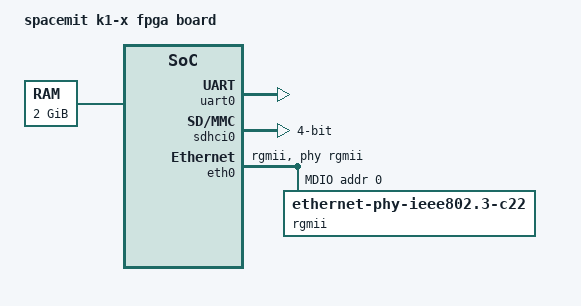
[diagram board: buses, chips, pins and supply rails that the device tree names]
// SPDX-License-Identifier: (GPL-2.0 OR MIT)
/* Copyright (c) 2023 Spacemit, Inc */

/dts-v1/;

#include "k1-x.dtsi"

/ {
	model = "spacemit k1-x fpga board";

	memory@0 {
		device_type = "memory";
		reg = <0x00000000 0x00000000 0x00000000 0x80000000>;
		u-boot,dm-spl;
	};

	chosen {
		bootargs = "earlycon=sbi console=ttyS0,115200 debug loglevel=8,initcall_debug=1 rdinit=/init.tmp";
		stdout-path = "serial0:115200n8";
		u-boot,dm-spl;
	};
};

&uart0 {
	status = "okay";
};

&sdhci0 {
	bus-width = <4>;
	broken-cd;
	cap-sd-highspeed;
	status = "okay";
};

/* eMMC */
&sdhci2 {
	bus-width = <8>;
	non-removable;
	cap-mmc-highspeed;
	status = "disabled";
};

&eth0 {
	status = "okay";

	phy-reset-pin = <40>;

	clk_tuning_enable;
	clk-tuning-by-reg;
	tx-phase = <0x1>;
	rx-phase = <0x5>;

	phy-mode = "rgmii";
	phy-addr = <0>;
	phy-handle = <&rgmii>;

	ref-clock-from-phy;

	mdio {
		#address-cells = <0x1>;
		#size-cells = <0x0>;
		rgmii: phy@0 {
			compatible = "ethernet-phy-ieee802.3-c22";
			device_type = "ethernet-phy";
			reg = <0x0>;
		};
	};
};

&pcie0_rc {
	status = "disabled";
};
